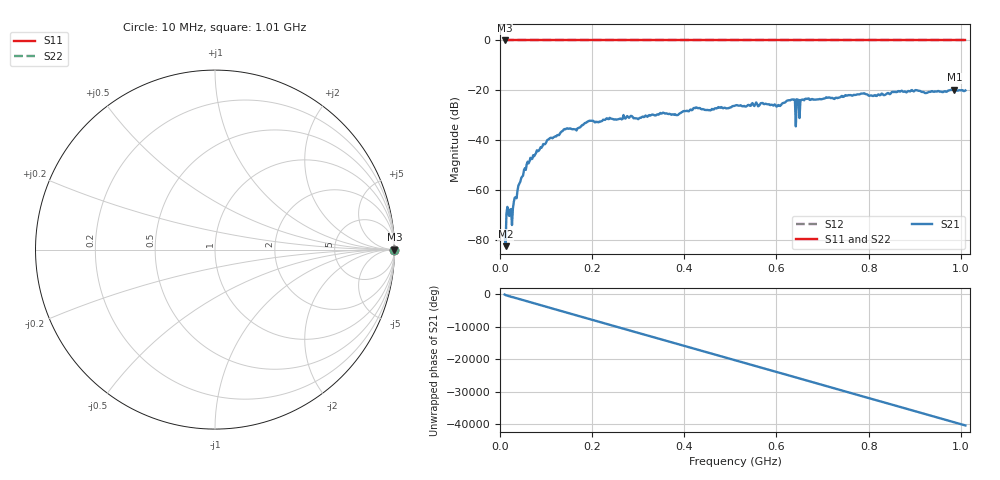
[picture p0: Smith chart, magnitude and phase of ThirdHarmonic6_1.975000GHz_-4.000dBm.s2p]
! 8/16/2025 11:45:09 PM
! C:\ANRITSUVNA\TEMP\TEMP.S2P
! CHANNEL.1
! TR.MEASUREMENT
! RAW.DATA
! RF.CORRECTION.OFF
! AVERAGING.OFF
! IF.BANDWIDTH: 5KHZ
! SWEEPTYPE:  FREQ.SWEEP(Linear)
! Reference Plane Port Info
! PORT:  PORT1  PORT2
! DISTANCE:  0  m  0  m
! TIME:  0  s  0  s
! PHASE.OFFSET:  0  deg.  0  deg.
! LOSS:  0  dB  0  dB
! REF.LOSS:  0  dB  0  dB
! REF.FREQ:  0  Hz  0  Hz
! Power Info
! POWER:  -20  dBm  -20  dBm
! EFF.POWER:  -20  dBm  -20  dBm
! SOURCE.ATTEN:  0  dB  0  dB
! TEST.ATTEN:  0  dB  0  dB
# GHZ S RI R 50.0
! FREQ.GHZ  S11RE  S11IM  S21RE  S21IM  S12RE  S12IM  S22RE  S22IM
!; PortSelection: Port_12
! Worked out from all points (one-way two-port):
!   501 points, 10 MHz to 1.01 GHz, reference 50 ohm
!   highest |S21| = -19.71 dB at 986 MHz (marker M1); lowest = -82.3 dB at 12 MHz (marker M2)
!   lowest |S11| = 0.0 dB at 10 MHz (marker M3)
!   |S11| at or under -10 dB: nowhere
!   |S22| runs from 0.0 to 0.0 dB; largest |S21 - S12| = 1.1
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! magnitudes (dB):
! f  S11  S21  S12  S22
! 10 MHz  0.0  -77.7  0.0  0.0
! 12 MHz  0.0  -82.3  0.0  0.0
! 18 MHz  0.0  -69.2  0.0  0.0
! 24 MHz  0.0  -67.5  0.0  0.0
! 44 MHz  0.0  -56.5  0.0  0.0
! 62 MHz  0.0  -49.2  0.0  0.0
! 106 MHz  0.0  -39.5  0.0  0.0
! 142 MHz  0.0  -35.5  0.0  0.0
! 178 MHz  0.0  -33.9  0.0  0.0
! 196 MHz  0.0  -32.1  0.0  0.0
! 344 MHz  0.0  -29.7  0.0  0.0
! 510 MHz  0.0  -26.1  0.0  0.0
! 604 MHz  0.0  -25.8  0.0  0.0
! 636 MHz  0.0  -23.6  0.0  0.0
! 638 MHz  0.0  -23.7  0.0  0.0
! 646 MHz  0.0  -23.9  0.0  0.0
! 648 MHz  0.0  -23.7  0.0  0.0
! 656 MHz  0.0  -23.6  0.0  0.0
! 678 MHz  0.0  -23.4  0.0  0.0
! 844 MHz  0.0  -21.3  0.0  0.0
! 986 MHz  0.0  -19.7  0.0  0.0
! 1.01 GHz  0.0  -20.0  0.0  0.0
